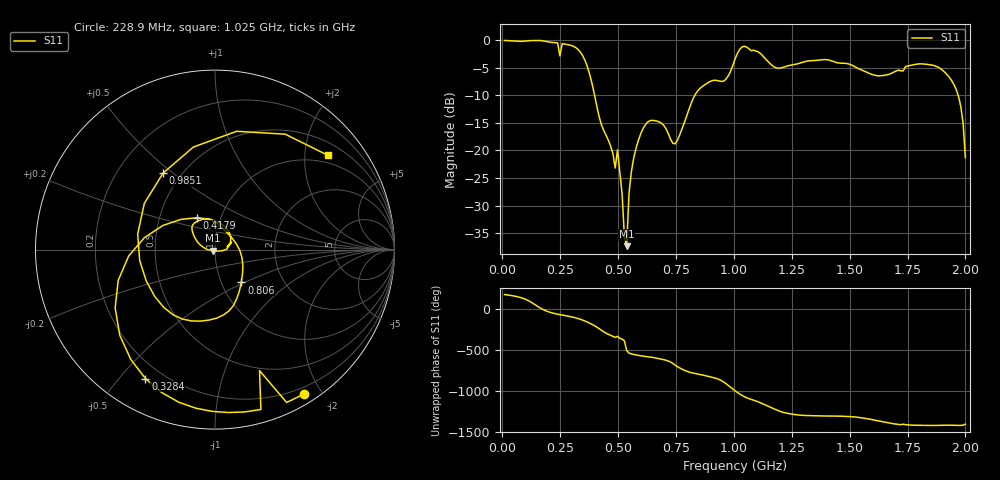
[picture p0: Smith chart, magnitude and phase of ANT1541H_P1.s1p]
!Created with skrf (http://scikit-rf.org).
# Hz S RI R 50.0
!freq ReS11 ImS11
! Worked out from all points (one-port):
!   201 points, 10 MHz to 2 GHz, reference 50 ohm
!   lowest |S11| = -37.3 dB at 537.4 MHz (marker M1), VSWR 1.03, Z = 48.8 - j0.665 ohm
!   |S11| at or under -10 dB: 398.5 MHz to 831.9 MHz (433.4 MHz wide, 70.4 % of centre); 1.969 GHz to end of sweep
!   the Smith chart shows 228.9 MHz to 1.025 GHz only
!   S11 on the Smith chart (normalised r, x): 228.9 MHz: 0.12, -1.78; 328.4 MHz: 0.14, -0.59; 417.9 MHz: 0.77, +0.29; 806 MHz: 1.24, -0.48; 985.1 MHz: 0.40, +0.46; 1.025 GHz: 0.79, +2.54
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1e7  -0.9865 0.0738
7.965e7  -0.7259 0.6455
1.294e8  0.2785 0.947
1.692e8  0.9845 0.049
2.289e8  0.494 -0.8057
2.5875e8  0.2556 -0.8908
3.284e8  -0.3872 -0.7189
3.682e8  -0.5392 -0.1712
4.1795e8  -0.0987 0.1774
5.075e8  0.0643 0.00115
5.3735e8  -0.0118 -0.00681
5.5725e8  -0.0628 0.0114
6.07e8  -0.1242 0.0948
7.5625e8  0.1195 0.0309
8.06e8  0.1469 -0.1831
9.1545e8  -0.2333 -0.3633
9.851e8  -0.2893 0.4262
1.005e9  0.1207 0.6592
1.0249e9  0.6295 0.525
1.05475e9  0.8585 -0.0881
1.1244e9  0.1337 -0.707
1.1841e9  -0.5045 -0.2387
1.25375e9  -0.5277 0.2758
1.5025e9  -0.3291 0.5016
1.75125e9  0.5384 0.2196
1.9403e9  0.4085 0.132
1.9801e9  0.2406 0.0691
2e9  0.0738 0.0444
